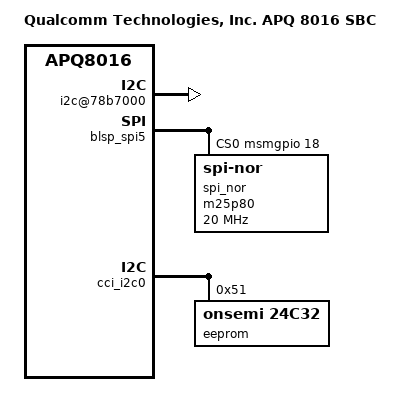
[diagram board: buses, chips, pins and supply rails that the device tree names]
/*
 * Copyright (c) 2015, The Linux Foundation. All rights reserved.
 *
 * This program is free software; you can redistribute it and/or modify
 * it under the terms of the GNU General Public License version 2 and
 * only version 2 as published by the Free Software Foundation.
 *
 * This program is distributed in the hope that it will be useful,
 * but WITHOUT ANY WARRANTY; without even the implied warranty of
 * MERCHANTABILITY or FITNESS FOR A PARTICULAR PURPOSE.  See the
 * GNU General Public License for more details.
 */

/dts-v1/;
#include <dt-bindings/arm/qcom-ids.h>
#include "advantech-apq8016-sbc.dtsi"
#include "advantech-rsb-4760-soc-pins.dtsi"

/ {
	model = "Qualcomm Technologies, Inc. APQ 8016 SBC";
	compatible = "qcom,apq8016-sbc", "qcom,apq8016", "qcom,sbc";
	qcom,board-id = <QCOM_BRD_ID(SBC, 1, 0) QCOM_BRD_SUBTYPE_DEFAULT>;

	board {
		compatible = "proc-board";
		board-type = "RSB-4760";
		board-cpu = "Quad 64-bit";
	};

	soc {
		i2c@1b0c000 {
			label = "I2C2";
			//status = "okay";
		};

		i2c@78b7000 {
			label = "I2C4";
			status = "okay";
		};
	};
};

/* ROM-EG70 */
&blsp_spi5 {
	fsl,spi-num-chipselects = <1>;
	cs-gpios = <&msmgpio 18 GPIO_ACTIVE_HIGH>;
	status = "okay";
	spi_nor: m25p80@0 {
		#address-cells = <1>;
		#size-cells = <1>;
		compatible = "jedec,spi-nor";
		spi-max-frequency = <20000000>;
		reg = <0>;
	};
};

&cci_i2c0 {
	eeprom: 24c32@51 {
		compatible = "onsemi,24c32";
		reg = <0x51>;
	};
};
